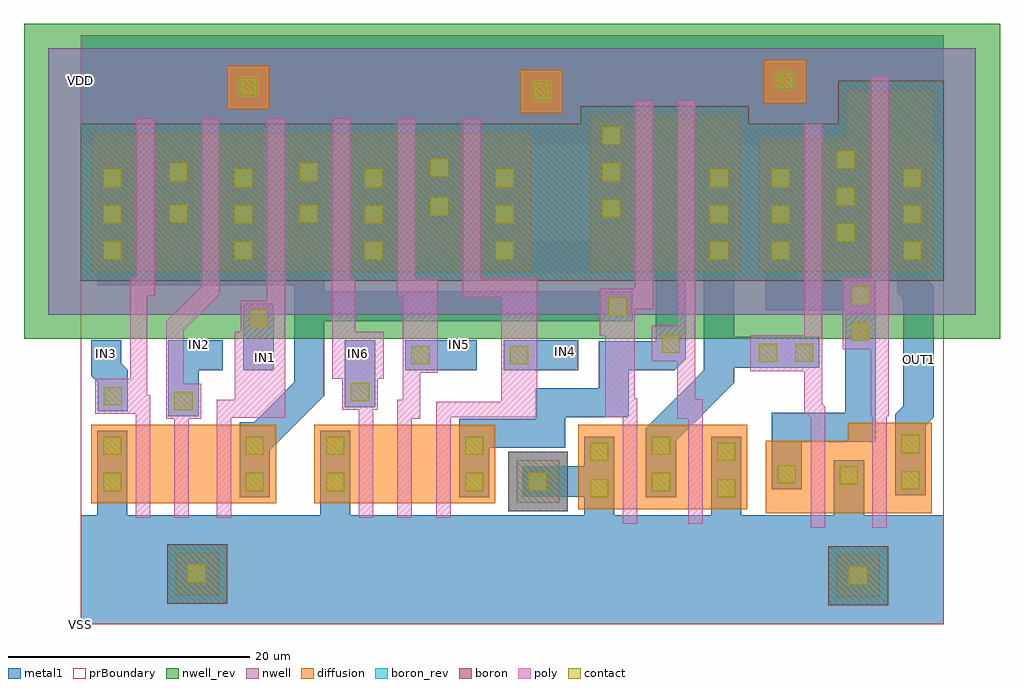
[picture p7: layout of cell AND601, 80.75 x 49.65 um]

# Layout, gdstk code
import gdstk
lib = gdstk.Library(unit=1e-6, precision=1e-09)
def R(c, l, rs):  # rectangles x0, y0, x1, y1
    for r in rs: c.add(gdstk.rectangle(r[:2], r[2:], *l))
def A(c, l, x, y, w, h, nx, ny, dx, dy):  # array of equal rectangles
    R(c, l, [(x+i*dx, y+j*dy, x+i*dx+w, y+j*dy+h) for i in range(nx) for j in range(ny)])
def P(c, l, *ps):  # polygons
    for p in ps: c.add(gdstk.Polygon(p, *l))
nwell = (1, 0)
diffusion = (2, 0)
nwell_rev = (3, 0)
poly = (4, 0)
boron = (5, 0)
boron_rev = (6, 0)
contact = (7, 0)
metal1 = (8, 0)
prBoundary = (28, 0)

and601 = lib.new_cell('AND601')
R(and601, nwell, [(-2.7,25.6,74.05,47.65)])
R(and601, diffusion, [(62.55,2.25,66.1,5.75), (7.85,2.4,11.4,5.9), (41.15,9.5,55.15,16.5), (0.85,10,16.15,16.5), (19.3,10,34.3,16.5), (36.05,10.05,39.6,13.55), (0.85,29.15,37.25,40.65), (42.15,29.15,54.55,42.15), (36.35,42.25,39.85,45.85), (12.1,42.6,15.6,46.2), (56.5,43.1,60,46.7)])
P(and601, diffusion, [(56.65,9.15),(56.65,15.15),(63.45,15.15),(63.45,16.65),(70.4,16.65),(70.4,9.15)],
  [(56.15,29.15),(56.15,40.15),(63.35,40.15),(63.35,44.15),(70.55,44.15),(70.55,29.15)])
R(and601, nwell_rev, [(-4.7,23.6,76.05,49.65)])
P(and601, poly, [(65.5,7.95),(65.5,17.2),(65.35,17.2),(65.35,22.75),(63.05,22.75),(63.05,28.65),(65.35,28.65),(65.35,45.35),(66.85,45.35),(66.85,17.2),(66.7,17.2),(66.7,7.95)],
  [(7.75,8.8),(7.75,17),(7.05,17),(7.05,25.05),(10,28),(10,41.85),(11.5,41.85),(11.5,27.308),(8.5,24.308),(8.5,19.9),(9.95,19.9),(9.95,17),(8.95,17),(8.95,8.8)],
  [(23,8.8),(23,17.75),(21.65,17.75),(21.65,20.3),(20.8,20.3),(20.8,41.85),(22.3,41.85),(22.3,28.5),(22.7,28.5),(22.7,24.2),(25.05,24.2),(25.05,20.3),(24.55,20.3),(24.55,17.75),(24.2,17.75),(24.2,8.8)],
  [(4.55,8.8),(4.55,17.4),(1.2,17.4),(1.2,20.3),(4.1,20.3),(4.1,28.65),(4.6,28.65),(4.6,41.85),(6.1,41.85),(6.1,27.15),(5.5,27.15),(5.5,18.95),(5.75,18.95),(5.75,8.8)],
  [(11.25,8.8),(11.25,18.55),(12.75,18.55),(12.75,24.2),(13.25,24.2),(13.25,26.75),(15.4,26.75),(15.4,41.85),(16.9,41.85),(16.9,17.05),(12.45,17.05),(12.45,8.8)],
  [(26.2,8.8),(26.2,18.55),(26.65,18.55),(26.65,27.05),(26.2,27.05),(26.2,41.85),(27.7,41.85),(27.7,28.55),(29.55,28.55),(29.55,20.8),(28.1,20.8),(28.1,17),(27.4,17),(27.4,8.8)],
  [(29.4,8.8),(29.4,18.4),(34.8,18.4),(34.8,27.05),(31.6,27.05),(31.6,41.85),(33.1,41.85),(33.1,28.55),(37.75,28.55),(37.75,17.1),(30.6,17.1),(30.6,8.8)],
  [(50.25,8.3),(50.25,17),(49.35,17),(49.35,21.75),(47.25,21.75),(47.25,24.7),(49.35,24.7),(49.35,43.35),(50.85,43.35),(50.85,18.6),(51.45,18.6),(51.45,8.3)],
  [(60.4,7.95),(60.4,17.05),(59.85,17.6),(59.85,20.9),(55.4,20.9),(55.4,23.9),(59.85,23.9),(59.85,41.35),(61.35,41.35),(61.35,18.222),(61.6,17.972),(61.6,7.95)],
  [(44.85,8.3),(44.85,17.1),(43.4,17.1),(43.4,23.85),(42.95,23.85),(42.95,27.75),(45.85,27.75),(45.85,43.35),(47.35,43.35),(47.35,26.05),(45.85,26.05),(45.85,18.7),(46.05,18.7),(46.05,8.3)])
R(and601, boron, [(61.85,1.55,66.8,6.45), (7.15,1.7,12.1,6.6), (35.35,9.35,40.3,14.25)])
P(and601, boron, [(0,28.4),(0,41.4),(41.35,41.4),(41.35,42.85),(55.25,42.85),(55.25,41.4),(62.65,41.4),(62.65,44.95),(71.4,44.95),(71.4,28.4)])
R(and601, boron_rev, [(61.85,1.55,66.8,6.45), (7.15,1.7,12.1,6.6), (35.35,9.35,40.3,14.25)])
P(and601, boron_rev, [(0,28.4),(0,41.4),(41.35,41.4),(41.35,42.85),(55.25,42.85),(55.25,41.4),(62.65,41.4),(62.65,44.95),(71.4,44.95),(71.4,28.4)])
A(and601, contact, 1.85, 30.15, 1.5, 1.5, 1, 3, 0, 3)
A(and601, contact, 12.7, 30.15, 1.5, 1.5, 3, 3, 10.8, 3)
A(and601, contact, 52.05, 30.15, 1.5, 1.5, 1, 3, 0, 3)
A(and601, contact, 57.15, 30.15, 1.5, 1.5, 1, 3, 0, 3)
A(and601, contact, 68.05, 30.15, 1.5, 1.5, 1, 3, 0, 3)
A(and601, contact, 62.55, 31.65, 1.5, 1.5, 1, 3, 0, 3)
A(and601, contact, 43.15, 33.65, 1.5, 1.5, 1, 3, 0, 3)
R(and601, contact, [(63.55,3.25,65.05,4.75), (8.85,3.4,10.35,4.9), (42.15,10.5,43.65,12), (52.65,10.5,54.15,12), (1.85,11,3.35,12.5), (13.65,11,15.15,12.5), (20.3,11,21.8,12.5), (31.8,11,33.3,12.5), (47.25,11,48.75,12.5), (37.05,11.05,38.55,12.55), (67.9,11.15,69.4,12.65), (62.8,11.55,64.3,13.05), (57.65,11.65,59.15,13.15), (42.15,13.5,43.65,15), (52.65,13.5,54.15,15), (1.85,14,3.35,15.5), (13.65,14,15.15,15.5), (20.3,14,21.8,15.5), (31.8,14,33.3,15.5), (47.25,14,48.75,15.5), (67.9,14.15,69.4,15.65), (7.75,17.7,9.25,19.2), (1.9,18.1,3.4,19.6), (22.35,18.45,23.85,19.95), (27.35,21.5,28.85,23), (35.5,21.5,37,23), (56.1,21.7,57.6,23.2), (59.1,21.7,60.6,23.2), (48.05,22.45,49.55,23.95), (63.75,23.45,65.25,24.95), (13.95,24.55,15.45,26.05), (43.65,25.55,45.15,27.05), (63.75,26.45,65.25,27.95), (7.3,33.2,8.8,34.7), (18.1,33.2,19.6,34.7), (28.9,33.8,30.4,35.3), (7.3,36.65,8.8,38.15), (18.1,36.65,19.6,38.15), (28.9,37,30.4,38.5), (37.35,43.35,38.85,44.85), (13.1,43.7,14.6,45.2), (57.5,44.2,59,45.7)])
R(and601, metal1, [(0,0,71.4,9), (21.85,17.95,24.35,23.5), (13.45,21,15.95,26.55), (26.85,21,32.75,23.5), (35,21,41.15,23.5), (68.05,21,70.55,23.5), (0,39.7,71.4,48.7)])
P(and601, metal1, [(62.05,31.15),(62.05,39.7),(45.15,39.7),(45.15,33.15),(42.65,33.15),(42.65,39.7),(30.9,39.7),(30.9,33.15),(28.4,33.15),(28.4,39.7),(20.1,39.7),(20.1,32),(17.6,32),(17.6,39.7),(9.3,39.7),(9.3,32),(6.8,32),(6.8,39.7),(0,39.7),(0,48.7),(71.4,48.7),(71.4,39.7),(64.55,39.7),(64.55,31.15)],
  [(13.15,10.5),(13.15,16.7),(14.35,16.7),(17.65,20),(17.65,28.05),(1.35,28.05),(1.35,38.15),(3.85,38.15),(3.85,30.45),(12.2,30.45),(12.2,38.15),(14.7,38.15),(14.7,30.45),(20.15,30.45),(20.15,27.55),(45.65,27.55),(45.65,25.05),(20.15,25.05),(20.15,18.894),(15.65,14.394),(15.65,10.5)],
  [(1.4,17.6),(1.4,20),(0.85,20.55),(0.85,23.5),(3.35,23.5),(3.35,21.586),(3.9,21.036),(3.9,17.6)],
  [(7.25,17.2),(7.25,23.5),(11.75,23.5),(11.75,21),(9.75,21),(9.75,17.2)],
  [(46.75,10.5),(46.75,16.2),(51.55,21),(51.55,38.15),(54.05,38.15),(54.05,23.75),(61.1,23.75),(61.1,21.2),(54.05,21.2),(54.05,19.964),(49.25,15.164),(49.25,10.5)],
  [(57.15,11.15),(57.15,17.5),(63.25,17.5),(63.25,25.95),(56.65,25.95),(56.65,38.15),(59.15,38.15),(59.15,28.45),(65.75,28.45),(65.75,15.1),(59.65,15.1),(59.65,11.15)],
  [(67.4,10.65),(67.4,17.35),(68.05,18),(68.05,26.9),(67.55,27.4),(67.55,38.15),(70.05,38.15),(70.05,28.436),(70.55,27.936),(70.55,17.114),(69.9,16.464),(69.9,10.65)],
  [(0,0),(0,9),(1.35,9),(1.35,16),(3.85,16),(3.85,9),(19.8,9),(19.8,16),(22.3,16),(22.3,9),(41.65,9),(41.65,10.55),(36.55,10.55),(36.55,13.05),(41.65,13.05),(41.65,15.5),(44.15,15.5),(44.15,9),(52.15,9),(52.15,15.5),(54.65,15.5),(54.65,9),(62.3,9),(62.3,13.55),(64.8,13.55),(64.8,9),(71.4,9),(71.4,0)],
  [(31.3,10.5),(31.3,17),(37.65,17),(37.65,19.5),(42.85,19.5),(42.85,23.4),(47.55,23.4),(47.55,29.05),(23,29.05),(23,38.15),(25.5,38.15),(25.5,31.55),(33.8,31.55),(33.8,38.15),(36.3,38.15),(36.3,31.55),(50.05,31.55),(50.05,21.964),(49.086,21),(45.35,21),(45.35,17.264),(45.186,17.1),(40.1,17.1),(40.1,14.6),(33.8,14.6),(33.8,10.5)])
R(and601, prBoundary, [(0,0,71.4,48.7)])
and601.add(gdstk.Label('VSS', (0.001,0.001), layer=8, texttype=7))
and601.add(gdstk.Label('VDD', (0.002,45), layer=8, texttype=7))
and601.add(gdstk.Label('IN4', (40.085,22.53), layer=8, texttype=7))
and601.add(gdstk.Label('IN3', (2.105,22.35), layer=8, texttype=7))
and601.add(gdstk.Label('IN2', (9.845,23.16), layer=8, texttype=7))
and601.add(gdstk.Label('IN1', (15.245,22.08), layer=8, texttype=7))
and601.add(gdstk.Label('IN6', (22.985,22.35), layer=8, texttype=7))
and601.add(gdstk.Label('IN5', (31.355,23.16), layer=8, texttype=7))
and601.add(gdstk.Label('OUT1', (69.425,21.9), layer=8, texttype=7))

lib.write_gds('AND601.gds')
